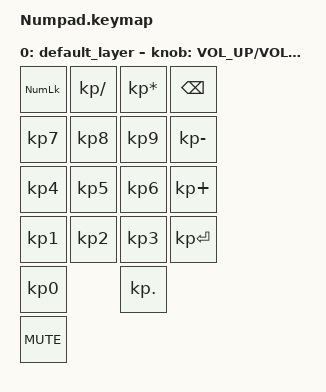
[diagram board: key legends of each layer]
#include <behaviors.dtsi>
#include <dt-bindings/zmk/keys.h>
#include <dt-bindings/zmk/bt.h>
#include <dt-bindings/zmk/outputs.h>


// ------------------default-----------------
// |   NUM    |    /    |    *    |   BSPC  |
// |    7     |    8    |    9    |    -    |
// |    4     |    5    |    6    |    +    |
// |    1     |    2    |    3    |  ENTER  |
// |    0     |         |    .    |         |

/ {
    keymap {
        compatible = "zmk,keymap";
        default_layer {
            bindings = <
                &kp KP_NUM    &kp KP_DIVIDE   &kp KP_MULTIPLY   &kp BSPC
                &kp KP_N7     &kp KP_N8       &kp KP_N9         &kp KP_MINUS
                &kp KP_N4     &kp KP_N5       &kp KP_N6         &kp KP_PLUS
                &kp KP_N1     &kp KP_N2       &kp KP_N3         &kp KP_ENTER
                &kp KP_N0                     &kp KP_DOT
				&kp C_MUTE 
				>;

			sensor-bindings = <&inc_dec_kp C_VOL_UP C_VOL_DN>;
        };
    };
};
